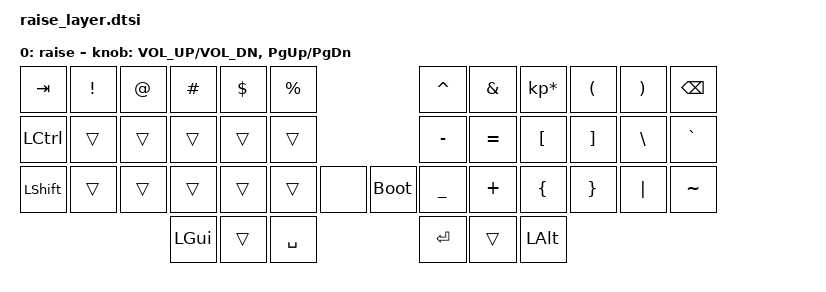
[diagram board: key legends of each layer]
/ {
    keymap {
        compatible = "zmk,keymap";

        raise_layer {
            display-name = "raise";
            sensor-bindings = <&inc_dec_kp C_VOL_UP C_VOL_DN &inc_dec_kp PG_UP PG_DN>;

// ------------------------------------------------------------------------------------------------
// |  TAB |  !  |  @  |  #  |  $  |  %  |                    |  ^  |  &  |  *  |  (  |  )  | BKSP |
// | CTRL |     |     |     |     |     |                    |  -  |  =  |  [  |  ]  |  \  |  `   |
// | SHFT |     |     |     |     |     |        |  |  boot  |  _  |  +  |  {  |  }  | "|" |  ~   |
//                    | GUI |     | SPC |                    | ENT |     | ALT |
            bindings = <
&kp TAB   &kp EXCL &kp AT &kp HASH &kp DLLR &kp PRCNT                   &kp CARET &kp AMPS  &kp KP_MULTIPLY &kp LPAR &kp RPAR &kp BSPC
&kp LCTRL &trans   &trans &trans   &trans   &trans                      &kp MINUS &kp EQUAL &kp LBKT        &kp RBKT &kp BSLH &kp GRAVE
&kp LSHFT &trans   &trans &trans   &trans   &trans    &none &bootloader &kp UNDER &kp PLUS  &kp LBRC        &kp RBRC &kp PIPE &kp TILDE
                          &kp LGUI &trans   &kp SPACE                   &kp RET   &trans    &kp LALT
            >;
        };
    };
};
